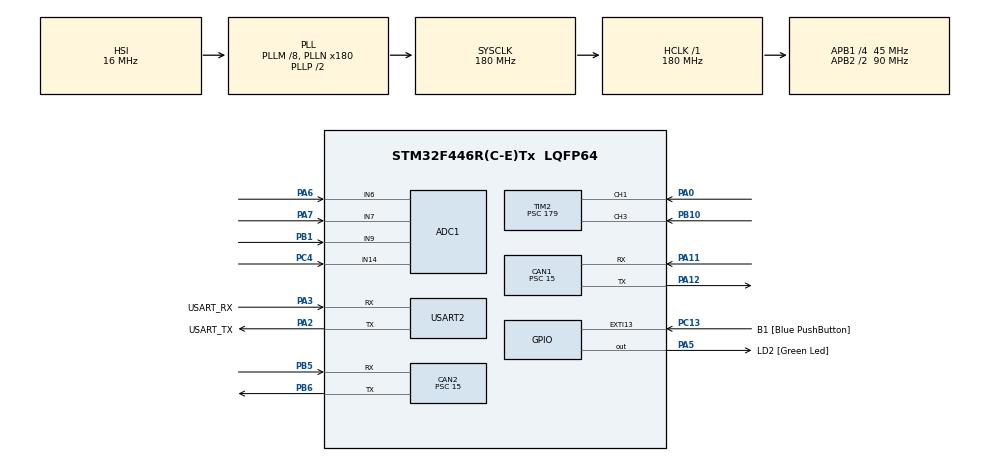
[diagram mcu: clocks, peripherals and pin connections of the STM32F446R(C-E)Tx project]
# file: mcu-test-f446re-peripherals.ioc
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ADC1.Channel-0\#ChannelRegularConversion=ADC_CHANNEL_6
ADC1.Channel-1\#ChannelRegularConversion=ADC_CHANNEL_7
ADC1.Channel-2\#ChannelRegularConversion=ADC_CHANNEL_9
ADC1.Channel-3\#ChannelRegularConversion=ADC_CHANNEL_14
ADC1.DMAContinuousRequests=ENABLE
ADC1.NbrOfConversion=4
ADC1.NbrOfConversionFlag=1
ADC1.Rank-0\#ChannelRegularConversion=1
ADC1.Rank-1\#ChannelRegularConversion=2
ADC1.Rank-2\#ChannelRegularConversion=3
ADC1.Rank-3\#ChannelRegularConversion=4
ADC1.SamplingTime-0\#ChannelRegularConversion=ADC_SAMPLETIME_480CYCLES
ADC1.SamplingTime-1\#ChannelRegularConversion=ADC_SAMPLETIME_480CYCLES
ADC1.SamplingTime-2\#ChannelRegularConversion=ADC_SAMPLETIME_480CYCLES
ADC1.SamplingTime-3\#ChannelRegularConversion=ADC_SAMPLETIME_480CYCLES
ADC1.master=1
CAN1.ABOM=ENABLE
CAN1.BS2=CAN_BS2_4TQ
CAN1.CalculateBaudRate=500000
CAN1.CalculateTimeBit=2000
CAN1.CalculateTimeQuantum=333.3333333333333
CAN1.Prescaler=15
CAN2.ABOM=ENABLE
CAN2.BS2=CAN_BS2_4TQ
CAN2.CalculateBaudRate=500000
CAN2.CalculateTimeBit=2000
CAN2.CalculateTimeQuantum=333.3333333333333
CAN2.Prescaler=15
Dma.ADC1.0.Direction=DMA_PERIPH_TO_MEMORY
Dma.ADC1.0.FIFOMode=DMA_FIFOMODE_DISABLE
Dma.ADC1.0.Instance=DMA2_Stream0
Dma.ADC1.0.MemDataAlignment=DMA_MDATAALIGN_HALFWORD
Dma.ADC1.0.MemInc=DMA_MINC_ENABLE
Dma.ADC1.0.Mode=DMA_CIRCULAR
Dma.ADC1.0.PeriphDataAlignment=DMA_PDATAALIGN_HALFWORD
Dma.ADC1.0.PeriphInc=DMA_PINC_DISABLE
Dma.ADC1.0.Priority=DMA_PRIORITY_LOW
Dma.Request0=ADC1
Dma.Request1=TIM2_UP/CH3
Dma.Request2=USART2_TX
Dma.Request3=TIM2_CH1
Dma.TIM2_CH1.3.Direction=DMA_PERIPH_TO_MEMORY
Dma.TIM2_CH1.3.FIFOMode=DMA_FIFOMODE_DISABLE
Dma.TIM2_CH1.3.Instance=DMA1_Stream5
Dma.TIM2_CH1.3.MemDataAlignment=DMA_MDATAALIGN_WORD
Dma.TIM2_CH1.3.MemInc=DMA_MINC_ENABLE
Dma.TIM2_CH1.3.Mode=DMA_CIRCULAR
Dma.TIM2_CH1.3.PeriphDataAlignment=DMA_PDATAALIGN_WORD
Dma.TIM2_CH1.3.PeriphInc=DMA_PINC_DISABLE
Dma.TIM2_CH1.3.Priority=DMA_PRIORITY_LOW
Dma.TIM2_UP/CH3.1.Direction=DMA_PERIPH_TO_MEMORY
Dma.TIM2_UP/CH3.1.FIFOMode=DMA_FIFOMODE_DISABLE
Dma.TIM2_UP/CH3.1.Instance=DMA1_Stream1
Dma.TIM2_UP/CH3.1.MemDataAlignment=DMA_MDATAALIGN_WORD
Dma.TIM2_UP/CH3.1.MemInc=DMA_MINC_ENABLE
Dma.TIM2_UP/CH3.1.Mode=DMA_CIRCULAR
Dma.TIM2_UP/CH3.1.PeriphDataAlignment=DMA_PDATAALIGN_WORD
Dma.TIM2_UP/CH3.1.PeriphInc=DMA_PINC_DISABLE
Dma.TIM2_UP/CH3.1.Priority=DMA_PRIORITY_LOW
Dma.USART2_TX.2.Direction=DMA_MEMORY_TO_PERIPH
Dma.USART2_TX.2.FIFOMode=DMA_FIFOMODE_DISABLE
Dma.USART2_TX.2.Instance=DMA1_Stream6
Dma.USART2_TX.2.MemDataAlignment=DMA_MDATAALIGN_BYTE
Dma.USART2_TX.2.MemInc=DMA_MINC_ENABLE
Dma.USART2_TX.2.Mode=DMA_NORMAL
Dma.USART2_TX.2.PeriphDataAlignment=DMA_PDATAALIGN_BYTE
Dma.USART2_TX.2.PeriphInc=DMA_PINC_DISABLE
Dma.USART2_TX.2.Priority=DMA_PRIORITY_LOW
Mcu.Family=STM32F4
Mcu.Name=STM32F446R(C-E)Tx
Mcu.Package=LQFP64
NVIC.ADC_IRQn=true\:0\:0\:false\:false\:true\:true\:true\:true
NVIC.CAN1_RX0_IRQn=true\:0\:0\:false\:false\:true\:true\:true\:true
NVIC.CAN2_RX0_IRQn=true\:0\:0\:false\:false\:true\:true\:true\:true
NVIC.DMA1_Stream1_IRQn=true\:0\:0\:false\:false\:true\:false\:true\:true
NVIC.DMA1_Stream5_IRQn=true\:0\:0\:false\:false\:true\:false\:true\:true
NVIC.DMA1_Stream6_IRQn=true\:0\:0\:false\:false\:true\:false\:true\:true
NVIC.DMA2_Stream0_IRQn=true\:0\:0\:false\:false\:true\:false\:true\:true
NVIC.EXTI15_10_IRQn=true\:0\:0\:false\:false\:true\:true\:true\:true
NVIC.PriorityGroup=NVIC_PRIORITYGROUP_0
NVIC.TIM2_IRQn=true\:0\:0\:false\:false\:true\:true\:true\:true
NVIC.USART2_IRQn=true\:0\:0\:false\:false\:true\:true\:true\:true
PA0-WKUP.Signal=S_TIM2_CH1_ETR
PA11.Mode=CAN_Activate
PA11.Signal=CAN1_RX
PA12.Mode=CAN_Activate
PA12.Signal=CAN1_TX
PA13.GPIO_Label=TMS
PA13.Mode=Serial_Wire
PA13.Signal=SYS_JTMS-SWDIO
PA14.GPIO_Label=TCK
PA14.Mode=Serial_Wire
PA14.Signal=SYS_JTCK-SWCLK
PA2.GPIO_Label=USART_TX
PA2.Mode=Asynchronous
PA2.Signal=USART2_TX
PA3.GPIO_Label=USART_RX
PA3.Mode=Asynchronous
PA3.Signal=USART2_RX
PA5.GPIO_Label=LD2 [Green Led]
PA5.Signal=GPIO_Output
PA6.Signal=ADCx_IN6
PA7.Signal=ADCx_IN7
PB1.Signal=ADCx_IN9
PB10.Signal=S_TIM2_CH3
PB5.Mode=CAN_Activate
PB5.Signal=CAN2_RX
PB6.Mode=CAN_Activate
PB6.Signal=CAN2_TX
PC13.GPIO_Label=B1 [Blue PushButton]
PC13.GPIO_ModeDefaultEXTI=GPIO_MODE_IT_FALLING
PC13.Signal=GPXTI13
PC14-OSC32_IN.Mode=LSE-External-Oscillator
PC14-OSC32_IN.Signal=RCC_OSC32_IN
PC15-OSC32_OUT.Mode=LSE-External-Oscillator
PC15-OSC32_OUT.Signal=RCC_OSC32_OUT
PC4.Signal=ADCx_IN14
PH0-OSC_IN.Mode=HSE-External-Oscillator
PH0-OSC_IN.Signal=RCC_OSC_IN
PH1-OSC_OUT.Mode=HSE-External-Oscillator
PH1-OSC_OUT.Signal=RCC_OSC_OUT
ProjectManager.HeapSize=0x200
ProjectManager.StackSize=0x400
ProjectManager.TargetToolchain=STM32CubeIDE
RCC.48MHZClocksFreq_Value=84000000
RCC.AHBFreq_Value=180000000
RCC.APB1CLKDivider=RCC_HCLK_DIV4
RCC.APB1Freq_Value=45000000
RCC.APB1TimFreq_Value=90000000
RCC.APB2CLKDivider=RCC_HCLK_DIV2
RCC.APB2Freq_Value=90000000
RCC.APB2TimFreq_Value=180000000
RCC.CortexFreq_Value=180000000
RCC.FLatency-AdvancedSettings=FLASH_LATENCY_5
RCC.HCLKFreq_Value=180000000
RCC.HSE_VALUE=8000000
RCC.HSI_VALUE=16000000
RCC.PLLM=8
RCC.PLLN=180
RCC.SYSCLKFreq_VALUE=180000000
RCC.SYSCLKSource=RCC_SYSCLKSOURCE_PLLCLK
RCC.USBFreq_Value=180000000
RCC.VCOOutputFreq_Value=360000000
SH.ADCx_IN14.0=ADC1_IN14,IN14
SH.ADCx_IN6.0=ADC1_IN6,IN6
SH.ADCx_IN7.0=ADC1_IN7,IN7
SH.ADCx_IN9.0=ADC1_IN9,IN9
SH.S_TIM2_CH1_ETR.0=TIM2_CH1,Input_Capture1_from_TI1
SH.S_TIM2_CH3.0=TIM2_CH3,Input_Capture3_from_TI3
TIM2.AutoReloadPreload=TIM_AUTORELOAD_PRELOAD_ENABLE
TIM2.Channel-Input_Capture1_from_TI1=TIM_CHANNEL_1
TIM2.Channel-Input_Capture3_from_TI3=TIM_CHANNEL_3
TIM2.ICFilter_CH1=8
TIM2.ICFilter_CH3=8
TIM2.Prescaler=179
USART2.VirtualMode=VM_ASYNC
VP_IWDG_VS_IWDG.Mode=IWDG_Activate
VP_TIM2_VS_ClockSourceINT.Mode=Internal
board=NUCLEO-F446RE

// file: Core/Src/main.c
/* USER CODE BEGIN Header */
/**
  ******************************************************************************
  * @file           : main.c
  * @brief          : Main program body – STM32F446RE peripheral test
  ******************************************************************************
  * @attention
  *
  * Copyright (c) 2026 STMicroelectronics.
  * All rights reserved.
  *
  * This software is licensed under terms that can be found in the LICENSE file
  * in the root directory of this software component.
  * If no LICENSE file comes with this software, it is provided AS-IS.
  *
  ******************************************************************************
  * Adattato da mcu-g474re-stm32 – differenze principali G474RE → F446RE:
  *   · FDCAN   → bxCAN  (HAL_CAN_*)
  *   · LPUART1 → USART2 (PA2=TX / PA3=RX)
  *   · ADC ch  → IN6,IN7,IN9,IN14  (PA6,PA7,PB1,PC4)
  *   · TIM2    → CH1(PA0) e CH3(PB10); clock TIM2=90 MHz, psc=179 → 2 µs/tick
  *   · IWDG    → no finestra (F4 IWDG non ha windowed mode)
 *   · CH1 DMA → DMA1_Stream5/Ch3 generato da CubeMX in DMA_CIRCULAR
  ******************************************************************************
  */
/* USER CODE END Header */
#include "main.h"

/* USER CODE BEGIN Includes */
#include <stdio.h>
#include <stdarg.h>
#include <string.h>
/* USER CODE END Includes */

ADC_HandleTypeDef hadc1;
DMA_HandleTypeDef hdma_adc1;

CAN_HandleTypeDef hcan1;
CAN_HandleTypeDef hcan2;

IWDG_HandleTypeDef hiwdg;

TIM_HandleTypeDef htim2;
DMA_HandleTypeDef hdma_tim2_up_ch3;
DMA_HandleTypeDef hdma_tim2_ch1;

UART_HandleTypeDef huart2;
DMA_HandleTypeDef hdma_usart2_tx;

/* USER CODE BEGIN PV */

/* -----------------------------------------------------------------------
 *  IWDG – non generato da CubeMX per questa board; aggiunto manualmente
 * --------------------------------------------------------------------- */

/* -----------------------------------------------------------------------
 *  ADC – 4 canali DMA continuo (circolare)
 *  Buffer: [0]=PA6/IN6  [1]=PA7/IN7  [2]=PB1/IN9  [3]=PC4/IN14
 * --------------------------------------------------------------------- */
#define ADC_NUM_CH   4u
volatile uint16_t g_adc[ADC_NUM_CH];          /* raw 12-bit ADC values  */

/* -----------------------------------------------------------------------
 *  USART2 – debug su ST-Link VCP via DMA (PA2=TX, PA3=RX @ 115200)
 *  Pattern identico a Serial.c: buffer DMA + flag busy + TxCplt callback
 * --------------------------------------------------------------------- */
#define UART_BUF_SIZE   128u
static char      g_uart_buf[UART_BUF_SIZE];
volatile uint8_t g_uart_busy = 0;

/* -----------------------------------------------------------------------
 *  bxCAN  (CAN1 = PA11/PA12 @ 500 kbps,  CAN2 = PB5/PB6 @ 500 kbps)
 *
 *  NOTA: la F446RE ha AutoBusOff=ENABLE → il recovery bus-off è automatico
 *  (hardware attende 128×11 bit recessivi). Con AutoRetransmission=DISABLE
 *  il TX viene tentato una sola volta e non si innesca il bus-off loop.
 *  Per test senza hardware CAN → cambiare Mode in CAN_MODE_LOOPBACK nel
 *  .ioc e rigenerare.
 * --------------------------------------------------------------------- */
volatile uint8_t      g_btn_tx_req  = 0;      /* richiesta TX da pulsante */
CAN_RxHeaderTypeDef   g_can_rx_hdr;
uint8_t               g_can_rx_data[8];
volatile uint32_t     g_can1_rx_cnt = 0;
volatile uint32_t     g_can2_rx_cnt = 0;

/* -----------------------------------------------------------------------
 *  Speed sensors – TIM2 Input Capture DMA circolare
 *  PA0  → TIM2_CH1 → ruota 1
 *  PB10 → TIM2_CH3 → ruota 2
 *
 *  Clock TIM2: APB1=45 MHz → timer clock = 2×45 = 90 MHz
 *  Prescaler 179 → tick = 90 MHz / 180 = 500 kHz → 2 µs/tick
 *
 *  rpm  = 60 × 500 000 / (diff_tick × NUM_DENTI)
 *       = 30 000 000   / (diff_tick × NUM_DENTI)
 *  km/h = rpm_medio × CIRC_RUOTA_M × 60 / 1000
 *
 *  TIM2_CH3 → DMA1_Stream1, Ch3 (generato da CubeMX, handle hdma_tim2_up_ch3)
 *  TIM2_CH1 → DMA1_Stream5, Ch3 (generato da CubeMX, handle hdma_tim2_ch1;
 *                                  mode CIRCULAR fissato in USER CODE TIM2_MspInit 1)
 * --------------------------------------------------------------------- */
#define NUM_DENTI      22.0f
#define CIRC_RUOTA_M    1.2f              /* circonferenza ruota [m]       */
#define IC_BUF_SIZE    32u

/* hdma_tim2_ch1 → dichiarato da CubeMX nella sezione non-USER CODE       */

uint32_t          g_ic_buf_ch1[IC_BUF_SIZE];  /* DMA scrive TIM2 CH1 qui */
uint32_t          g_ic_buf_ch3[IC_BUF_SIZE];  /* DMA scrive TIM2 CH3 qui */
uint16_t          g_last_idx_ch1 = 0;
uint16_t          g_last_idx_ch3 = 0;
uint16_t          g_timeout_ch1  = 0;         /* cnt loop senza nuovi dati */
uint16_t          g_timeout_ch3  = 0;

volatile float    g_rpm1      = 0.0f;
volatile float    g_rpm2      = 0.0f;
volatile float    g_speed_kmh = 0.0f;

/* Contatori di debug: salgono ad ogni dente rilevato su PA0 / PB10 */
volatile uint32_t g_edge_cnt_ch1  = 0;   /* fronti su TIM2_CH1 (PA0)  */
volatile uint32_t g_edge_cnt_ch3  = 0;   /* fronti su TIM2_CH3 (PB10) */

/* logging tick: globale per visibilità in debug */
uint32_t          g_log_tick  = 0;

/* USER CODE END PV */

void SystemClock_Config(void);
static void MX_GPIO_Init(void);
static void MX_DMA_Init(void);
static void MX_ADC1_Init(void);
static void MX_CAN1_Init(void);
static void MX_CAN2_Init(void);
static void MX_TIM2_Init(void);
static void MX_USART2_UART_Init(void);
static void MX_IWDG_Init(void);

/* USER CODE BEGIN 0 */

/* -----------------------------------------------------------------------
 *  Serial_Log – invia stringa formattata su USART2 via DMA
 *  Stesso pattern di Serial.c: buffer statico + flag busy + callback.
 *  Il chiamante attende al più 20 ms che il TX precedente finisca;
 *  se scade il timeout il messaggio viene scartato (no blocco).
 * --------------------------------------------------------------------- */
void Serial_Log(const char *fmt, ...)
{
    uint32_t t0 = HAL_GetTick();
    while (g_uart_busy && (HAL_GetTick() - t0 < 20u)) {}
    if (g_uart_busy) return;

    va_list ap;
    va_start(ap, fmt);
    int len = vsnprintf(g_uart_buf, sizeof(g_uart_buf), fmt, ap);
    va_end(ap);

    if (len <= 0 || len >= (int)sizeof(g_uart_buf)) return;

    g_uart_busy = 1u;
    if (HAL_UART_Transmit_DMA(&huart2, (uint8_t *)g_uart_buf, (uint16_t)len) != HAL_OK)
        g_uart_busy = 0u;
}

/* -----------------------------------------------------------------------
 *  HAL Callbacks
 * --------------------------------------------------------------------- */

/* TX USART2 completato → libera il flag (chiamato da DMA1_Stream6 IRQ) */
void HAL_UART_TxCpltCallback(UART_HandleTypeDef *huart)
{
    if (huart->Instance == USART2)
        g_uart_busy = 0u;
}

/* Pulsante B1 (PC13, falling edge EXTI) → schedula TX su CAN1 */
void HAL_GPIO_EXTI_Callback(uint16_t GPIO_Pin)
{
    if (GPIO_Pin == B1_Pin)
        g_btn_tx_req = 1u;
}

/*
 * bxCAN RX FIFO0 callback – svuota il FIFO in loop (gestisce burst)
 *  • CAN1: toggle LED verde (PA5 / LD2) ad ogni frame ricevuto
 *  • CAN2: incrementa solo il contatore
 */
void HAL_CAN_RxFifo0MsgPendingCallback(CAN_HandleTypeDef *hcan)
{
    while (HAL_CAN_GetRxFifoFillLevel(hcan, CAN_RX_FIFO0) > 0u)
    {
        HAL_CAN_GetRxMessage(hcan, CAN_RX_FIFO0, &g_can_rx_hdr, g_can_rx_data);

        if (hcan->Instance == CAN1)
        {
            g_can1_rx_cnt++;
            HAL_GPIO_TogglePin(LD2_GPIO_Port, LD2_Pin);
        }
        else if (hcan->Instance == CAN2)
        {
            g_can2_rx_cnt++;
        }
    }
}

/* USER CODE END 0 */

int main(void)
{

  /* MCU Configuration--------------------------------------------------------*/

  /* Reset of all peripherals, Initializes the Flash interface and the Systick. */
  HAL_Init();

  /* Configure the system clock */
  SystemClock_Config();

  /* Initialize all configured peripherals */
  MX_GPIO_Init();
  MX_DMA_Init();
  MX_ADC1_Init();
  MX_CAN1_Init();
  MX_CAN2_Init();
  MX_TIM2_Init();
  MX_USART2_UART_Init();
  MX_IWDG_Init();
  /* USER CODE BEGIN 2 */

  /* -----------------------------------------------------------------------
   *  IWDG – prescaler 8, reload 4095 → timeout ≈ 1 s con LSI@32 kHz
   *  (F4 IWDG non ha windowed mode: solo Prescaler + Reload)
   * --------------------------------------------------------------------- */
  hiwdg.Instance       = IWDG;
  hiwdg.Init.Prescaler = IWDG_PRESCALER_8;
  hiwdg.Init.Reload    = 4095;
  if (HAL_IWDG_Init(&hiwdg) != HAL_OK) { Error_Handler(); }

  /* -----------------------------------------------------------------------
   *  ADC – avvio DMA continuo circolare (4 canali)
   * --------------------------------------------------------------------- */
  HAL_ADC_Start_DMA(&hadc1, (uint32_t *)g_adc, ADC_NUM_CH);

  /* -----------------------------------------------------------------------
   *  CAN1 – filtro "accetta tutto", start, abilita notifica RX FIFO0
   *  bank 0-13 → CAN1,  bank 14-27 → CAN2  (SlaveStartFilterBank=14)
   * --------------------------------------------------------------------- */
  {
    CAN_FilterTypeDef f = {0};
    f.FilterBank           = 0;
    f.FilterMode           = CAN_FILTERMODE_IDMASK;
    f.FilterScale          = CAN_FILTERSCALE_32BIT;
    f.FilterIdHigh         = 0x0000u;
    f.FilterIdLow          = 0x0000u;
    f.FilterMaskIdHigh     = 0x0000u;  /* maschera 0 → accetta qualunque ID */
    f.FilterMaskIdLow      = 0x0000u;
    f.FilterFIFOAssignment = CAN_RX_FIFO0;
    f.FilterActivation     = ENABLE;
    f.SlaveStartFilterBank = 14;
    HAL_CAN_ConfigFilter(&hcan1, &f);
    if (HAL_CAN_Start(&hcan1) != HAL_OK)
      Serial_Log("CAN1 Start FAIL\r\n");
    else
      HAL_CAN_ActivateNotification(&hcan1, CAN_IT_RX_FIFO0_MSG_PENDING);
  }

  /* -----------------------------------------------------------------------
   *  CAN2 – stesso schema (bank 14)
   * --------------------------------------------------------------------- */
  {
    CAN_FilterTypeDef f = {0};
    f.FilterBank           = 14;
    f.FilterMode           = CAN_FILTERMODE_IDMASK;
    f.FilterScale          = CAN_FILTERSCALE_32BIT;
    f.FilterIdHigh         = 0x0000u;
    f.FilterIdLow          = 0x0000u;
    f.FilterMaskIdHigh     = 0x0000u;
    f.FilterMaskIdLow      = 0x0000u;
    f.FilterFIFOAssignment = CAN_RX_FIFO0;
    f.FilterActivation     = ENABLE;
    f.SlaveStartFilterBank = 14;
    HAL_CAN_ConfigFilter(&hcan2, &f);
    if (HAL_CAN_Start(&hcan2) != HAL_OK)
      Serial_Log("CAN2 Start FAIL\r\n");
    else
      HAL_CAN_ActivateNotification(&hcan2, CAN_IT_RX_FIFO0_MSG_PENDING);
  }

  /* -----------------------------------------------------------------------
   *  TIM2 IC DMA – avvio circolare su CH1 (PA0) e CH3 (PB10)
   * --------------------------------------------------------------------- */
  HAL_TIM_IC_Start_DMA(&htim2, TIM_CHANNEL_1, g_ic_buf_ch1, IC_BUF_SIZE);
  HAL_TIM_IC_Start_DMA(&htim2, TIM_CHANNEL_3, g_ic_buf_ch3, IC_BUF_SIZE);
  /* abilita interrupt CC1: toggle LD2 ad ogni fronte catturato su PA0 */
  //__HAL_TIM_ENABLE_IT(&htim2, TIM_IT_CC1);

  Serial_Log("=== Nucleo F446RE test start ===\r\n");

  /* USER CODE END 2 */

  /* Infinite loop */
  while (1)
  {

    /* USER CODE BEGIN 3 */

    uint32_t now = HAL_GetTick();

    /* ---------------------------------------------------------------
     *  Pulsante B1 → TX su CAN1 (ID 0x123, 8 byte)
     * ------------------------------------------------------------- */
    if (g_btn_tx_req)
    {
      g_btn_tx_req = 0u;

      CAN_TxHeaderTypeDef txh = {0};
      txh.StdId              = 0x123u;
      txh.IDE                = CAN_ID_STD;
      txh.RTR                = CAN_RTR_DATA;
      txh.DLC                = 8u;
      txh.TransmitGlobalTime = DISABLE;

      uint8_t  txd[8]    = {0xDE, 0xAD, 0xBE, 0xEF, 0x01, 0x02, 0x03, 0x04};
      uint32_t txMailbox = 0;
      if (HAL_CAN_AddTxMessage(&hcan1, &txh, txd, &txMailbox) == HAL_OK)
        Serial_Log("CAN1 TX ok (mb=%lu)\r\n", (unsigned long)txMailbox);
      else
        Serial_Log("CAN1 TX ERR (bus assente?)\r\n");
    }

    /* ---------------------------------------------------------------
     *  Bus-off status – con AutoBusOff=ENABLE il recovery è automatico;
     *  log solo per visibilità in debug.
     * ------------------------------------------------------------- */
    if (hcan1.Instance->ESR & CAN_ESR_BOFF)
      Serial_Log("CAN1: bus-off rilevato\r\n");
    if (hcan2.Instance->ESR & CAN_ESR_BOFF)
      Serial_Log("CAN2: bus-off rilevato\r\n");

    /* ---------------------------------------------------------------
     *  RUOTA 1 – TIM2 CH1 (PA0)
     *
     *  NDTR del DMA conta quante scritture mancano a riempire il buffer.
     *  curr_idx = posizione corrente di scrittura nel buffer circolare.
     *  Il % IC_BUF_SIZE gestisce il caso NDTR==0 (wrap-around DMA).
     * ------------------------------------------------------------- */
    {
      uint16_t ndtr     = (uint16_t)__HAL_DMA_GET_COUNTER(htim2.hdma[TIM_DMA_ID_CC1]);
      uint16_t curr_idx = (uint16_t)((IC_BUF_SIZE - ndtr) % IC_BUF_SIZE);

      if (curr_idx != g_last_idx_ch1)
      {
        g_edge_cnt_ch1++;   /* nuovo fronte rilevato su CH1 */
        HAL_GPIO_TogglePin(LD2_GPIO_Port, LD2_Pin);  /* toggle LED verde per visibilità */
        /* ultimi due timestamp catturati in ordine circolare */
        uint16_t i_new  = (uint16_t)((curr_idx - 1u + IC_BUF_SIZE) % IC_BUF_SIZE);
        uint16_t i_prev = (uint16_t)((curr_idx - 2u + IC_BUF_SIZE) % IC_BUF_SIZE);

        /* sottrazione uint32 gestisce overflow del counter a 32 bit */
        uint32_t diff = g_ic_buf_ch1[i_new] - g_ic_buf_ch1[i_prev];
        if (diff > 0u)
          /* 30 000 000 = 60 × 500 000 tick/s  (tick = 2 µs) */
          g_rpm1 = 30000000.0f / ((float)diff * NUM_DENTI);

        g_last_idx_ch1 = curr_idx;
        g_timeout_ch1  = 0u;
      }
      else
      {
        if (g_timeout_ch1 < 0xFFFFu) g_timeout_ch1++;
        if (g_timeout_ch1 > 500u) g_rpm1 = 0.0f;  /* ~5 s → ruota ferma */
      }
    }

    /* ---------------------------------------------------------------
     *  RUOTA 2 – TIM2 CH3 (PB10)
     * ------------------------------------------------------------- */
    {
      uint16_t ndtr     = (uint16_t)__HAL_DMA_GET_COUNTER(htim2.hdma[TIM_DMA_ID_CC3]);
      uint16_t curr_idx = (uint16_t)((IC_BUF_SIZE - ndtr) % IC_BUF_SIZE);

      if (curr_idx != g_last_idx_ch3)
      {
        g_edge_cnt_ch3++;   /* nuovo fronte rilevato su CH3 */

        uint16_t i_new  = (uint16_t)((curr_idx - 1u + IC_BUF_SIZE) % IC_BUF_SIZE);
        uint16_t i_prev = (uint16_t)((curr_idx - 2u + IC_BUF_SIZE) % IC_BUF_SIZE);

        uint32_t diff = g_ic_buf_ch3[i_new] - g_ic_buf_ch3[i_prev];
        if (diff > 0u)
          g_rpm2 = 30000000.0f / ((float)diff * NUM_DENTI);

        g_last_idx_ch3 = curr_idx;
        g_timeout_ch3  = 0u;
      }
      else
      {
        if (g_timeout_ch3 < 0xFFFFu) g_timeout_ch3++;
        if (g_timeout_ch3 > 500u) g_rpm2 = 0.0f;  /* ~5 s → ruota ferma */
      }
    }

    /* ---------------------------------------------------------------
     *  Velocità veicolo
     *  km/h = rpm_medio × circ[m] × 60 / 1000
     * ------------------------------------------------------------- */
    g_speed_kmh = ((g_rpm1 + g_rpm2) * 0.5f * CIRC_RUOTA_M * 60.0f) / 1000.0f;

    /* ---------------------------------------------------------------
     *  Log UART ogni 200 ms
     *  ADC raw 12-bit, RPM ruote, velocità, contatori CAN RX
     * ------------------------------------------------------------- */
    if (now - g_log_tick >= 200u)
    {
      g_log_tick = now;
      Serial_Log("RPM1=%6.1f RPM2=%6.1f V=%5.1f km/h | edges CH1=%lu CH3=%lu\r\n",
                 (double)g_rpm1, (double)g_rpm2, (double)g_speed_kmh,
                 (unsigned long)g_edge_cnt_ch1, (unsigned long)g_edge_cnt_ch3);
    }

    /* kick watchdog (timeout IWDG ≈ 1 s) */
    HAL_IWDG_Refresh(&hiwdg);

    HAL_Delay(10);
  }
  /* USER CODE END 3 */
}

void SystemClock_Config(void)
{
  RCC_OscInitTypeDef RCC_OscInitStruct = {0};
  RCC_ClkInitTypeDef RCC_ClkInitStruct = {0};

  /** Configure the main internal regulator output voltage
  */
  __HAL_RCC_PWR_CLK_ENABLE();
  __HAL_PWR_VOLTAGESCALING_CONFIG(PWR_REGULATOR_VOLTAGE_SCALE1);

  /** Initializes the RCC Oscillators according to the specified parameters
  * in the RCC_OscInitTypeDef structure.
  */
  RCC_OscInitStruct.OscillatorType = RCC_OSCILLATORTYPE_HSI|RCC_OSCILLATORTYPE_LSI;
  RCC_OscInitStruct.HSIState = RCC_HSI_ON;
  RCC_OscInitStruct.HSICalibrationValue = RCC_HSICALIBRATION_DEFAULT;
  RCC_OscInitStruct.LSIState = RCC_LSI_ON;
  RCC_OscInitStruct.PLL.PLLState = RCC_PLL_ON;
  RCC_OscInitStruct.PLL.PLLSource = RCC_PLLSOURCE_HSI;
  RCC_OscInitStruct.PLL.PLLM = 8;
  RCC_OscInitStruct.PLL.PLLN = 180;
  RCC_OscInitStruct.PLL.PLLP = RCC_PLLP_DIV2;
  RCC_OscInitStruct.PLL.PLLQ = 2;
  RCC_OscInitStruct.PLL.PLLR = 2;
  if (HAL_RCC_OscConfig(&RCC_OscInitStruct) != HAL_OK)
  {
    Error_Handler();
  }

  /** Activate the Over-Drive mode
  */
  if (HAL_PWREx_EnableOverDrive() != HAL_OK)
  {
    Error_Handler();
  }

  /** Initializes the CPU, AHB and APB buses clocks
  */
  RCC_ClkInitStruct.ClockType = RCC_CLOCKTYPE_HCLK|RCC_CLOCKTYPE_SYSCLK
                              |RCC_CLOCKTYPE_PCLK1|RCC_CLOCKTYPE_PCLK2;
  RCC_ClkInitStruct.SYSCLKSource = RCC_SYSCLKSOURCE_PLLCLK;
  RCC_ClkInitStruct.AHBCLKDivider = RCC_SYSCLK_DIV1;
  RCC_ClkInitStruct.APB1CLKDivider = RCC_HCLK_DIV4;
  RCC_ClkInitStruct.APB2CLKDivider = RCC_HCLK_DIV2;

  if (HAL_RCC_ClockConfig(&RCC_ClkInitStruct, FLASH_LATENCY_5) != HAL_OK)
  {
    Error_Handler();
  }
}

static void MX_ADC1_Init(void)
{

  ADC_ChannelConfTypeDef sConfig = {0};

  /** Configure the global features of the ADC (Clock, Resolution, Data Alignment and number of conversion)
  */
  hadc1.Instance = ADC1;
  hadc1.Init.ClockPrescaler = ADC_CLOCK_SYNC_PCLK_DIV4;
  hadc1.Init.Resolution = ADC_RESOLUTION_12B;
  hadc1.Init.ScanConvMode = ENABLE;
  hadc1.Init.ContinuousConvMode = DISABLE;
  hadc1.Init.DiscontinuousConvMode = DISABLE;
  hadc1.Init.ExternalTrigConvEdge = ADC_EXTERNALTRIGCONVEDGE_NONE;
  hadc1.Init.ExternalTrigConv = ADC_SOFTWARE_START;
  hadc1.Init.DataAlign = ADC_DATAALIGN_RIGHT;
  hadc1.Init.NbrOfConversion = 4;
  hadc1.Init.DMAContinuousRequests = ENABLE;
  hadc1.Init.EOCSelection = ADC_EOC_SINGLE_CONV;
  if (HAL_ADC_Init(&hadc1) != HAL_OK)
  {
    Error_Handler();
  }

  /** Configure for the selected ADC regular channel its corresponding rank in the sequencer and its sample time.
  */
  sConfig.Channel = ADC_CHANNEL_6;
  sConfig.Rank = 1;
  sConfig.SamplingTime = ADC_SAMPLETIME_480CYCLES;
  if (HAL_ADC_ConfigChannel(&hadc1, &sConfig) != HAL_OK)
  {
    Error_Handler();
  }

  /** Configure for the selected ADC regular channel its corresponding rank in the sequencer and its sample time.
  */
  sConfig.Channel = ADC_CHANNEL_7;
  sConfig.Rank = 2;
  if (HAL_ADC_ConfigChannel(&hadc1, &sConfig) != HAL_OK)
  {
    Error_Handler();
  }

  /** Configure for the selected ADC regular channel its corresponding rank in the sequencer and its sample time.
  */
  sConfig.Channel = ADC_CHANNEL_9;
  sConfig.Rank = 3;
  if (HAL_ADC_ConfigChannel(&hadc1, &sConfig) != HAL_OK)
  {
    Error_Handler();
  }

  /** Configure for the selected ADC regular channel its corresponding rank in the sequencer and its sample time.
  */
  sConfig.Channel = ADC_CHANNEL_14;
  sConfig.Rank = 4;
  if (HAL_ADC_ConfigChannel(&hadc1, &sConfig) != HAL_OK)
  {
    Error_Handler();
  }
  /* USER CODE BEGIN ADC1_Init 2 */
  /*
   * CubeMX genera ContinuousConvMode=DISABLE e EOCSelection=SINGLE_CONV;
   * forziamo qui le due impostazioni necessarie per DMA circolare.
   * Canali, ScanConvMode, NbrOfConversion e DMAContinuousRequests sono
   * già corretti nel codice generato sopra.
   */
  hadc1.Init.ContinuousConvMode = ENABLE;
  hadc1.Init.EOCSelection       = ADC_EOC_SEQ_CONV;
  if (HAL_ADC_Init(&hadc1) != HAL_OK) { Error_Handler(); }
  /* USER CODE END ADC1_Init 2 */

}

static void MX_CAN1_Init(void)
{

  hcan1.Instance = CAN1;
  hcan1.Init.Prescaler = 15;
  hcan1.Init.Mode = CAN_MODE_NORMAL;
  hcan1.Init.SyncJumpWidth = CAN_SJW_1TQ;
  hcan1.Init.TimeSeg1 = CAN_BS1_1TQ;
  hcan1.Init.TimeSeg2 = CAN_BS2_4TQ;
  hcan1.Init.TimeTriggeredMode = DISABLE;
  hcan1.Init.AutoBusOff = ENABLE;
  hcan1.Init.AutoWakeUp = DISABLE;
  hcan1.Init.AutoRetransmission = DISABLE;
  hcan1.Init.ReceiveFifoLocked = DISABLE;
  hcan1.Init.TransmitFifoPriority = DISABLE;
  if (HAL_CAN_Init(&hcan1) != HAL_OK)
  {
    Error_Handler();
  }

}

static void MX_CAN2_Init(void)
{

  hcan2.Instance = CAN2;
  hcan2.Init.Prescaler = 15;
  hcan2.Init.Mode = CAN_MODE_NORMAL;
  hcan2.Init.SyncJumpWidth = CAN_SJW_1TQ;
  hcan2.Init.TimeSeg1 = CAN_BS1_1TQ;
  hcan2.Init.TimeSeg2 = CAN_BS2_4TQ;
  hcan2.Init.TimeTriggeredMode = DISABLE;
  hcan2.Init.AutoBusOff = ENABLE;
  hcan2.Init.AutoWakeUp = DISABLE;
  hcan2.Init.AutoRetransmission = DISABLE;
  hcan2.Init.ReceiveFifoLocked = DISABLE;
  hcan2.Init.TransmitFifoPriority = DISABLE;
  if (HAL_CAN_Init(&hcan2) != HAL_OK)
  {
    Error_Handler();
  }

}

static void MX_IWDG_Init(void)
{

  hiwdg.Instance = IWDG;
  hiwdg.Init.Prescaler = IWDG_PRESCALER_4;
  hiwdg.Init.Reload = 4095;
  if (HAL_IWDG_Init(&hiwdg) != HAL_OK)
  {
    Error_Handler();
  }

}

static void MX_TIM2_Init(void)
{

  TIM_ClockConfigTypeDef sClockSourceConfig = {0};
  TIM_MasterConfigTypeDef sMasterConfig = {0};
  TIM_IC_InitTypeDef sConfigIC = {0};

  htim2.Instance = TIM2;
  htim2.Init.Prescaler = 179;
  htim2.Init.CounterMode = TIM_COUNTERMODE_UP;
  htim2.Init.Period = 4294967295;
  htim2.Init.ClockDivision = TIM_CLOCKDIVISION_DIV1;
  htim2.Init.AutoReloadPreload = TIM_AUTORELOAD_PRELOAD_ENABLE;
  if (HAL_TIM_Base_Init(&htim2) != HAL_OK)
  {
    Error_Handler();
  }
  sClockSourceConfig.ClockSource = TIM_CLOCKSOURCE_INTERNAL;
  if (HAL_TIM_ConfigClockSource(&htim2, &sClockSourceConfig) != HAL_OK)
  {
    Error_Handler();
  }
  if (HAL_TIM_IC_Init(&htim2) != HAL_OK)
  {
    Error_Handler();
  }
  sMasterConfig.MasterOutputTrigger = TIM_TRGO_RESET;
  sMasterConfig.MasterSlaveMode = TIM_MASTERSLAVEMODE_DISABLE;
  if (HAL_TIMEx_MasterConfigSynchronization(&htim2, &sMasterConfig) != HAL_OK)
  {
    Error_Handler();
  }
  sConfigIC.ICPolarity = TIM_INPUTCHANNELPOLARITY_RISING;
  sConfigIC.ICSelection = TIM_ICSELECTION_DIRECTTI;
  sConfigIC.ICPrescaler = TIM_ICPSC_DIV1;
  sConfigIC.ICFilter = 8;
  if (HAL_TIM_IC_ConfigChannel(&htim2, &sConfigIC, TIM_CHANNEL_1) != HAL_OK)
  {
    Error_Handler();
  }
  if (HAL_TIM_IC_ConfigChannel(&htim2, &sConfigIC, TIM_CHANNEL_3) != HAL_OK)
  {
    Error_Handler();
  }

}

static void MX_USART2_UART_Init(void)
{

  huart2.Instance = USART2;
  huart2.Init.BaudRate = 115200;
  huart2.Init.WordLength = UART_WORDLENGTH_8B;
  huart2.Init.StopBits = UART_STOPBITS_1;
  huart2.Init.Parity = UART_PARITY_NONE;
  huart2.Init.Mode = UART_MODE_TX_RX;
  huart2.Init.HwFlowCtl = UART_HWCONTROL_NONE;
  huart2.Init.OverSampling = UART_OVERSAMPLING_16;
  if (HAL_UART_Init(&huart2) != HAL_OK)
  {
    Error_Handler();
  }

}

static void MX_DMA_Init(void)
{

  /* DMA controller clock enable */
  __HAL_RCC_DMA2_CLK_ENABLE();
  __HAL_RCC_DMA1_CLK_ENABLE();

  /* DMA interrupt init */
  /* DMA1_Stream1_IRQn interrupt configuration */
  HAL_NVIC_SetPriority(DMA1_Stream1_IRQn, 0, 0);
  HAL_NVIC_EnableIRQ(DMA1_Stream1_IRQn);
  /* DMA1_Stream5_IRQn interrupt configuration */
  HAL_NVIC_SetPriority(DMA1_Stream5_IRQn, 0, 0);
  HAL_NVIC_EnableIRQ(DMA1_Stream5_IRQn);
  /* DMA1_Stream6_IRQn interrupt configuration */
  HAL_NVIC_SetPriority(DMA1_Stream6_IRQn, 0, 0);
  HAL_NVIC_EnableIRQ(DMA1_Stream6_IRQn);
  /* DMA2_Stream0_IRQn interrupt configuration */
  HAL_NVIC_SetPriority(DMA2_Stream0_IRQn, 0, 0);
  HAL_NVIC_EnableIRQ(DMA2_Stream0_IRQn);

}

static void MX_GPIO_Init(void)
{
  GPIO_InitTypeDef GPIO_InitStruct = {0};

  /* GPIO Ports Clock Enable */
  __HAL_RCC_GPIOC_CLK_ENABLE();
  __HAL_RCC_GPIOH_CLK_ENABLE();
  __HAL_RCC_GPIOA_CLK_ENABLE();
  __HAL_RCC_GPIOB_CLK_ENABLE();

  /*Configure GPIO pin Output Level */
  HAL_GPIO_WritePin(LD2_GPIO_Port, LD2_Pin, GPIO_PIN_RESET);

  /*Configure GPIO pin : B1_Pin */
  GPIO_InitStruct.Pin = B1_Pin;
  GPIO_InitStruct.Mode = GPIO_MODE_IT_FALLING;
  GPIO_InitStruct.Pull = GPIO_NOPULL;
  HAL_GPIO_Init(B1_GPIO_Port, &GPIO_InitStruct);

  /*Configure GPIO pin : LD2_Pin */
  GPIO_InitStruct.Pin = LD2_Pin;
  GPIO_InitStruct.Mode = GPIO_MODE_OUTPUT_PP;
  GPIO_InitStruct.Pull = GPIO_NOPULL;
  GPIO_InitStruct.Speed = GPIO_SPEED_FREQ_LOW;
  HAL_GPIO_Init(LD2_GPIO_Port, &GPIO_InitStruct);

  /* EXTI interrupt init*/
  HAL_NVIC_SetPriority(EXTI15_10_IRQn, 0, 0);
  HAL_NVIC_EnableIRQ(EXTI15_10_IRQn);

}

/* USER CODE BEGIN 4 */

void HAL_TIM_IC_CaptureCallback(TIM_HandleTypeDef *htim)
{
  if (htim->Instance == TIM2 && htim->Channel == HAL_TIM_ACTIVE_CHANNEL_1)
  {
    HAL_GPIO_TogglePin(LD2_GPIO_Port, LD2_Pin);
  }
}

/* USER CODE END 4 */

void Error_Handler(void)
{
  __disable_irq();
  while (1)
  {
  }
}
